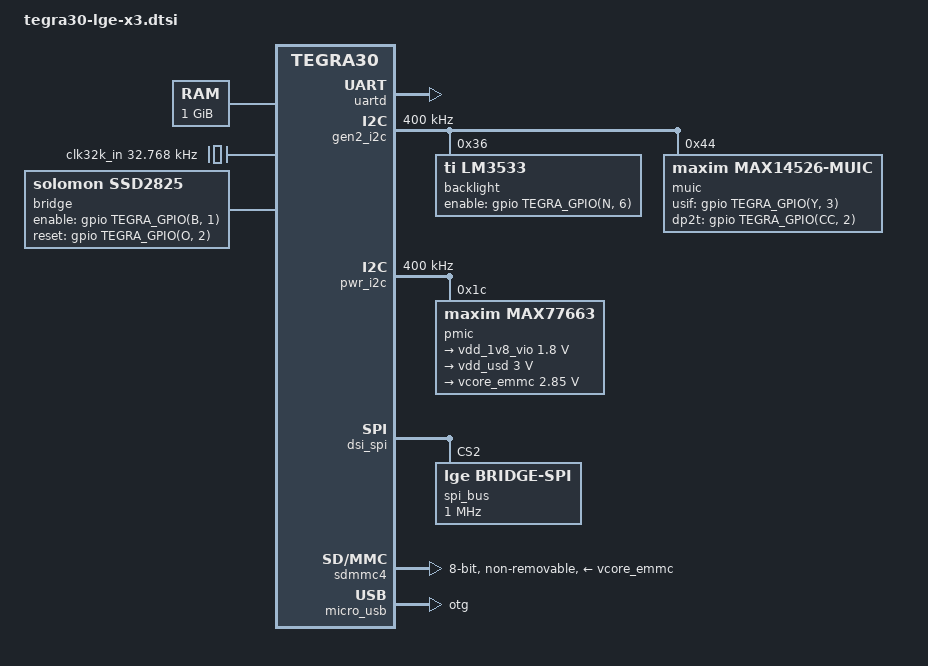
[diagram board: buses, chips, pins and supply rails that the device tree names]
// SPDX-License-Identifier: GPL-2.0-or-later

#include <dt-bindings/input/gpio-keys.h>
#include <dt-bindings/input/linux-event-codes.h>

#include "tegra30.dtsi"

/ {
	chosen {
		stdout-path = &uartd;
	};

	aliases {
		i2c0 = &pwr_i2c;
		i2c1 = &gen2_i2c;

		mmc0 = &sdmmc4;	/* eMMC */

		rtc0 = &pmic;
		rtc1 = "/rtc@7000e000";

		spi0 = &dsi_spi;

		usb0 = &micro_usb;
	};

	memory {
		device_type = "memory";
		reg = <0x80000000 0x40000000>;
	};

	uartd: serial@70006300 {
		status = "okay";
	};

	gen2_i2c: i2c@7000c400 {
		status = "okay";
		clock-frequency = <400000>;

		backlight: lm3533@36 {
			compatible = "ti,lm3533";
			reg = <0x36>;

			enable-gpios = <&gpio TEGRA_GPIO(N, 6) GPIO_ACTIVE_HIGH>;
		};

		muic@44 {
			compatible = "maxim,max14526-muic";
			reg = <0x44>;

			maxim,ap-usb;

			usif-gpios = <&gpio TEGRA_GPIO(Y, 3) GPIO_ACTIVE_HIGH>;
			dp2t-gpios = <&gpio TEGRA_GPIO(CC, 2) GPIO_ACTIVE_HIGH>;
		};
	};

	pwr_i2c: i2c@7000d000 {
		status = "okay";
		clock-frequency = <400000>;

		pmic: max77663@1c {
			compatible = "maxim,max77663";
			reg = <0x1c>;

			interrupts = <GIC_SPI 86 IRQ_TYPE_LEVEL_HIGH>;
			#interrupt-cells = <2>;
			interrupt-controller;

			#gpio-cells = <2>;
			gpio-controller;

			system-power-controller;

			regulators {
				vdd_1v8_vio: sd2 {
					regulator-name = "vdd_1v8_gen";
					regulator-min-microvolt = <1800000>;
					regulator-max-microvolt = <1800000>;
					regulator-always-on;
					regulator-boot-on;
				};

				vdd_usd: ldo3 {
					regulator-name = "vdd_sdmmc3";
					regulator-min-microvolt = <3000000>;
					regulator-max-microvolt = <3000000>;
					regulator-always-on;
					regulator-boot-on;
				};

				vcore_emmc: ldo5 {
					regulator-name = "vdd_ddr_rx";
					regulator-min-microvolt = <2850000>;
					regulator-max-microvolt = <2850000>;
					regulator-always-on;
					regulator-boot-on;
				};
			};
		};
	};

	dsi_spi: spi@7000dc00 {
		status = "okay";
		spi-max-frequency = <25000000>;

		spi_bus: bridge-spi@2 {
			compatible = "lge,bridge-spi";
			reg = <2>;

			spi-cpol;
			spi-cpha;

			spi-max-frequency = <1000000>;
		};
	};

	sdmmc4: sdhci@78000600 {
		status = "okay";
		bus-width = <8>;
		non-removable;

		vmmc-supply = <&vcore_emmc>;
		vqmmc-supply = <&vdd_1v8_vio>;
	};

	micro_usb: usb@7d000000 {
		status = "okay";
		dr_mode = "otg";
	};

	clocks {
		compatible = "simple-bus";
		#address-cells = <1>;
		#size-cells = <0>;

		clk32k_in: clock@0 {
			compatible = "fixed-clock";
			reg = <0>;
			#clock-cells = <0>;
			clock-frequency = <32768>;
		};
	};

	gpio-keyboard {
		compatible = "gpio-kbd";

		key-power {
			label = "Power";
			gpios = <&gpio TEGRA_GPIO(C, 7) GPIO_ACTIVE_LOW>;
			linux,code = <KEY_ENTER>;
		};

		key-volume-down {
			label = "Volume Down";
			gpios = <&gpio TEGRA_GPIO(O, 4) GPIO_ACTIVE_LOW>;
			linux,code = <KEY_DOWN>;
		};
	};

	bridge: bridge {
		compatible = "solomon,ssd2825";

		enable-gpios = <&gpio TEGRA_GPIO(B, 1) GPIO_ACTIVE_HIGH>;
		reset-gpios = <&gpio TEGRA_GPIO(O, 2) GPIO_ACTIVE_HIGH>;

		panel = <&panel>;
	};
};
